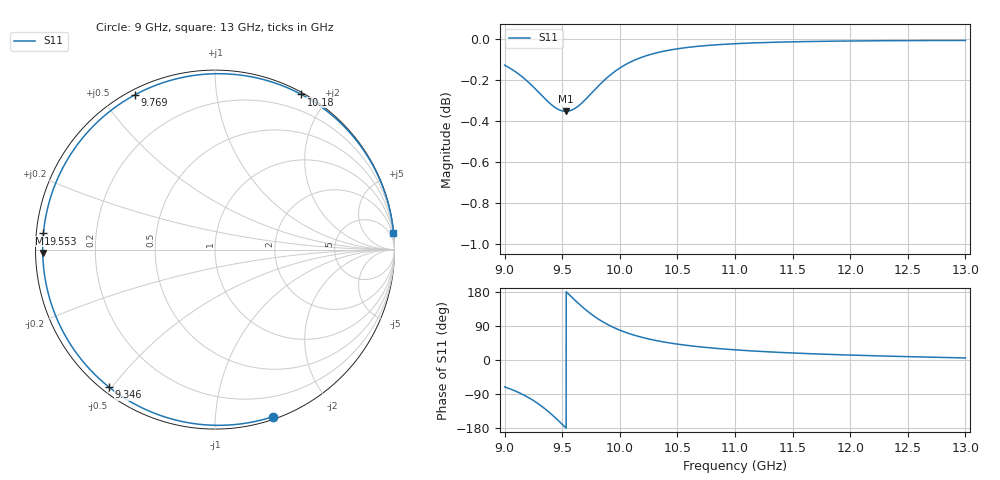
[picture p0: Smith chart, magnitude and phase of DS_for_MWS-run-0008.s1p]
! TOUCHSTONE file generated by CST DESIGN STUDIO
! Date and time: Tue Feb  4 13:37:49 2025
! Project name: C:\Work\MatlabApps\UnitCellOptimizationMatlab\CST\unitcell.cst
! Tree item: Tasks\Sweep1\SPara1\S-Parameters
! Header version: 2024
! Port assignment regex: !\s*Touchstone port\s*([0-9]+)\s*=\s*(CST MWS port|CST DES external port|CST DES block port)\s*(.+)\s* \(\"(.*)\"\)(\s*mode\s*([0-9]+))?.*
! Touchstone port assignment:
! Touchstone port 1 = CST DES external port 1 ("")
# GHz S MA R 50
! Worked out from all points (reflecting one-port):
!   4001 points, 9 GHz to 13 GHz, reference 50 ohm
!   lowest |S11| = -0.4 dB at 9.531 GHz (marker M1), VSWR 49.13, Z = 1.02 - j0.507 ohm
!   phase of S11 starts at -71 deg and turns -284 deg over the sweep
!   S11 on the Smith chart (normalised r, x): 9 GHz: 0.02, -1.40; 9.346 GHz: 0.02, -0.49; 9.553 GHz: 0.02, +0.05; 9.769 GHz: 0.02, +0.61; 10.18 GHz: 0.02, +1.70; 13 GHz: 0, +21
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9  0.9852 -71.0
9.097  0.9815 -82.3
9.204  0.9761 -98.5
9.279  0.9715 -112.7
9.346  0.9672 -127.7
9.419  0.963 -146.5
9.461  0.9613 -158.3
9.5  0.9603 -169.7
9.531  0.9601 -178.8
9.553  0.9602 174.6
9.607  0.9616 158.8
9.667  0.9644 142.1
9.718  0.9675 129.1
9.769  0.9709 117.3
9.818  0.9741 107.2
9.871  0.9773 97.5
9.93  0.9805 88.2
10  0.9837 78.7
10.085  0.9867 69.3
10.178  0.9893 60.9
10.325  0.9922 50.8
10.5  0.9943 41.9
10.721  0.996 33.9
11  0.9971 26.8
11.5  0.9982 18.5
12  0.9987 13.0
12.5  0.9989 8.9
13  0.999 5.4
